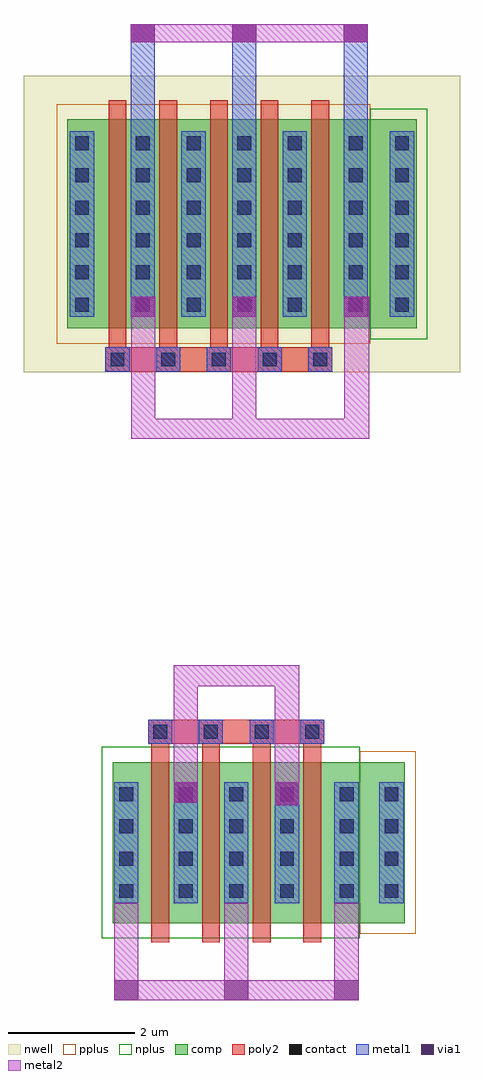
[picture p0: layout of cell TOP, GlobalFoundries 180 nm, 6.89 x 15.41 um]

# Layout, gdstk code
import gdstk
lib = gdstk.Library(unit=1e-6, precision=5e-09)
def R(c, l, rs):  # rectangles x0, y0, x1, y1
    for r in rs: c.add(gdstk.rectangle(r[:2], r[2:], *l))
def A(c, l, x, y, w, h, nx, ny, dx, dy):  # array of equal rectangles
    R(c, l, [(x+i*dx, y+j*dy, x+i*dx+w, y+j*dy+h) for i in range(nx) for j in range(ny)])
nwell = (21, 0)
comp = (22, 0)
poly2 = (30, 0)
pplus = (31, 0)
nplus = (32, 0)
contact = (33, 0)
metal1 = (34, 0)
via1 = (35, 0)
metal2 = (36, 0)

nfet_1 = lib.new_cell('nfet$1')
R(nfet_1, comp, [(-0.42,0,0,2.54), (0,0,3.06,2.54), (3.06,0,3.48,2.54), (3.48,0,4.19,2.54)])
A(nfet_1, poly2, 0.19, -0.3, 0.28, 3.14, 4, 1, 0.8, 0)
A(nfet_1, poly2, 0.15, 2.84, 0.36, 0.36, 4, 1, 0.8, 0)
R(nfet_1, pplus, [(3.48,-0.17,4.36,2.71)])
R(nfet_1, nplus, [(-0.59,-0.24,3.48,2.78)])
A(nfet_1, contact, -0.32, 0.395, 0.22, 0.22, 1, 4, 0, 0.51)
A(nfet_1, contact, 0.62, 0.395, 0.22, 0.22, 3, 4, 0.8, 0.51)
A(nfet_1, contact, 3.16, 0.395, 0.22, 0.22, 1, 4, 0, 0.51)
A(nfet_1, contact, 3.87, 0.395, 0.22, 0.22, 1, 4, 0, 0.51)
A(nfet_1, contact, 0.22, 2.91, 0.22, 0.22, 4, 1, 0.8, 0)
A(nfet_1, metal1, 0.54, 0.315, 0.38, 1.91, 3, 1, 0.8, 0)
A(nfet_1, metal1, 0.14, 2.83, 0.38, 0.38, 4, 1, 0.8, 0)
R(nfet_1, metal1, [(-0.4,0.315,-0.02,2.225), (3.08,0.315,3.46,2.225), (3.79,0.315,4.17,2.225)])

pfet = lib.new_cell('pfet')
R(pfet, nwell, [(-1.15,-0.69,5.74,3.99)])
R(pfet, comp, [(-0.46,0,0,3.3), (0,0,3.86,3.3), (3.86,0,4.32,3.3), (4.32,0,5.05,3.3)])
A(pfet, poly2, 0.14, -0.68, 0.38, 0.38, 5, 1, 0.8, 0)
A(pfet, poly2, 0.19, -0.3, 0.28, 3.9, 5, 1, 0.8, 0)
R(pfet, pplus, [(-0.63,-0.24,4.32,3.54)])
R(pfet, nplus, [(4.32,-0.17,5.22,3.47)])
A(pfet, contact, 0.22, -0.6, 0.22, 0.22, 5, 1, 0.8, 0)
A(pfet, contact, -0.34, 0.265, 0.22, 0.22, 1, 6, 0, 0.51)
A(pfet, contact, 0.62, 0.265, 0.22, 0.22, 4, 6, 0.8, 0.51)
A(pfet, contact, 3.98, 0.265, 0.22, 0.22, 1, 6, 0, 0.51)
A(pfet, contact, 4.71, 0.265, 0.22, 0.22, 1, 6, 0, 0.51)
A(pfet, metal1, 0.14, -0.68, 0.38, 0.38, 5, 1, 0.8, 0)
A(pfet, metal1, 0.54, 0.185, 0.38, 2.93, 4, 1, 0.8, 0)
R(pfet, metal1, [(-0.42,0.185,-0.04,3.115), (3.9,0.185,4.28,3.115), (4.63,0.185,5.01,3.115)])

top = lib.new_cell('TOP')
R(top, poly2, [(-51.475,11.915,-48.695,12.295), (-52.15,17.79,-48.57,18.17)])
R(top, metal1, [(-51.75,21.585,-51.37,23.275), (-50.15,21.585,-49.77,23.275), (-48.39,21.585,-48.01,23.275)])
R(top, via1, [(-52.015,7.87,-51.635,8.185), (-52.015,7.87,-51.635,8.185), (-50.275,7.87,-49.895,8.185), (-50.275,7.87,-49.895,8.185), (-48.535,7.87,-48.155,8.185), (-48.535,7.87,-48.155,8.185), (-49.475,10.945,-49.095,11.31), (-51.075,10.98,-50.695,11.31), (-51.745,18.655,-51.365,18.97), (-50.15,18.655,-49.77,18.97), (-48.385,18.655,-48.005,18.97), (-51.75,22.985,-51.37,23.275), (-50.15,22.985,-49.77,23.275), (-48.39,22.985,-48.01,23.275)])
R(top, metal2, [(-52.015,7.87,-51.635,9.4), (-52.015,7.87,-51.635,9.4), (-52.015,7.87,-48.155,8.185), (-50.275,7.87,-49.895,9.4), (-50.275,7.87,-49.895,9.4), (-48.535,7.87,-48.155,9.4), (-48.535,7.87,-48.155,9.4), (-49.475,10.945,-49.095,13.155), (-51.075,10.98,-50.695,13.155), (-51.075,12.825,-49.095,13.155), (-51.745,16.73,-51.365,18.97), (-51.73,16.73,-47.99,17.045), (-50.15,16.73,-49.77,18.97), (-48.385,16.73,-47.99,18.97), (-51.75,22.985,-48.01,23.275)])
top.add(gdstk.Reference(nfet_1, (-51.615,9.085)))
top.add(gdstk.Reference(pfet, (-52.29,18.47)))

lib.write_gds('TOP.gds')
